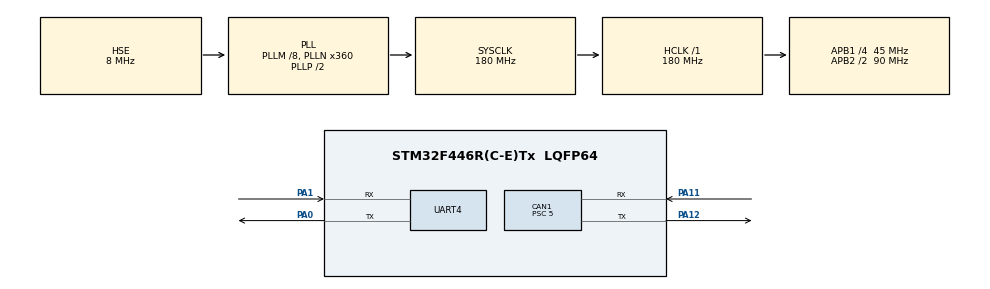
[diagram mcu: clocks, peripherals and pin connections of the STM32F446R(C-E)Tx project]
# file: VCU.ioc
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CAN1.BS1=CAN_BS1_15TQ
CAN1.BS2=CAN_BS2_2TQ
CAN1.CalculateBaudRate=500000
CAN1.CalculateTimeBit=2000
CAN1.CalculateTimeQuantum=111.11111111111111
CAN1.Prescaler=5
Mcu.Family=STM32F4
Mcu.Name=STM32F446R(C-E)Tx
Mcu.Package=LQFP64
NVIC.CAN1_RX0_IRQn=true\:0\:0\:false\:false\:true\:true\:true\:true
NVIC.CAN1_RX1_IRQn=true\:0\:0\:false\:false\:true\:true\:true\:true
NVIC.CAN1_SCE_IRQn=true\:0\:0\:false\:false\:true\:true\:true\:true
NVIC.CAN1_TX_IRQn=true\:0\:0\:false\:false\:true\:true\:true\:true
NVIC.PriorityGroup=NVIC_PRIORITYGROUP_4
NVIC.TIM2_IRQn=true\:0\:0\:false\:false\:true\:true\:true\:true
NVIC.UART4_IRQn=true\:0\:0\:false\:false\:true\:true\:true\:true
PA0-WKUP.Mode=Asynchronous
PA0-WKUP.Signal=UART4_TX
PA1.Mode=Asynchronous
PA1.Signal=UART4_RX
PA11.Mode=CAN_Activate
PA11.Signal=CAN1_RX
PA12.Mode=CAN_Activate
PA12.Signal=CAN1_TX
PH0-OSC_IN.Mode=HSE-External-Clock-Source
PH0-OSC_IN.Signal=RCC_OSC_IN
PH1-OSC_OUT.Mode=HSE-External-Clock-Source
PH1-OSC_OUT.Signal=RCC_OSC_OUT
ProjectManager.HeapSize=0x200
ProjectManager.StackSize=0x400
ProjectManager.TargetToolchain=STM32CubeIDE
RCC.AHBFreq_Value=180000000
RCC.APB1CLKDivider=RCC_HCLK_DIV4
RCC.APB1Freq_Value=45000000
RCC.APB1TimFreq_Value=90000000
RCC.APB2CLKDivider=RCC_HCLK_DIV2
RCC.APB2Freq_Value=90000000
RCC.APB2TimFreq_Value=180000000
RCC.CortexFreq_Value=180000000
RCC.HCLKFreq_Value=180000000
RCC.HSE_VALUE=8000000
RCC.PLLM=8
RCC.PLLN=360
RCC.PLLSourceVirtual=RCC_PLLSOURCE_HSE
RCC.SYSCLKFreq_VALUE=180000000
RCC.SYSCLKSource=RCC_SYSCLKSOURCE_PLLCLK
RCC.USBFreq_Value=180000000
RCC.VCOOutputFreq_Value=360000000
TIM2.Period=49999
TIM2.Prescaler=399
UART4.VirtualMode=Asynchronous
VP_TIM2_VS_ClockSourceINT.Mode=Internal
board=custom

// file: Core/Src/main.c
/* USER CODE BEGIN Header */
/**
 ******************************************************************************
 * @file           : main.c
 * @brief          : Main program body
 ******************************************************************************
 * @attention
 *
 * Copyright (c) 2025 STMicroelectronics.
 * All rights reserved.
 *
 * This software is licensed under terms that can be found in the LICENSE file
 * in the root directory of this software component.
 * If no LICENSE file comes with this software, it is provided AS-IS.
 *
 ******************************************************************************
 */
/* USER CODE END Header */
#include "main.h"

/* USER CODE BEGIN Includes */
#include <stdbool.h>
#include <string.h> //Includerea bibliotecii string.h
#include <stdint.h> // Includerea bibliotecii stdint
/* USER CODE END Includes */

/* USER CODE BEGIN PTD */

typedef struct {
	//HABARNAM INCA CUM SA L TRIMIT
	int PLM;
} LORA_READY_CAN;

/* USER CODE END PTD */

CAN_HandleTypeDef hcan1;

TIM_HandleTypeDef htim2;

UART_HandleTypeDef huart4;

/* USER CODE BEGIN PV */

volatile bool flag = 0; //Initializarea flagului flag ca variabila volatila pentru evidenta timer-ului
volatile bool flag_uart = 0;
CANMSG_T CAN_MESSAGE; //Initializarea variabilei CAN_MESSAGE de tipul CANMSG_T pentru prelucrarea mesajelor primite pe CANBUS
BMS_t BMS = {0};

static CANMSG_T RXQ[16]; //Declararea unui buffer circular cu 16 pozitii pentru receptarea mesajelor de pe CANBUS
static volatile uint16_t RX_HEAD = 0; //Initializarea head-ului pentru coada
static volatile uint16_t RX_TAIL = 0; //Initializarea tail-ului pentru coada

/* USER CODE END PV */

void SystemClock_Config(void);
static void MX_GPIO_Init(void);
static void MX_CAN1_Init(void);
static void MX_TIM2_Init(void);
static void MX_UART4_Init(void);
/* USER CODE BEGIN PFP */

void CAN_TX(void); //Prototipul functiei CAN_TX() de tipul void
void CAN_FILTER_CONFIG(void); //Prototipul functiei CAN_FILTER_CONFIG() de tipul void

/* USER CODE END PFP */

/* USER CODE BEGIN 0 */

// --- Functii Helper Ring Buffer ---
static inline uint16_t rb_next(uint16_t i) { //Functie care verifica urmatoarea pozitie din coada
	return (uint16_t) ((i + 1u) & (16 - 1u)); //daca ajunge la pozitia 16, revine la 0 cu ajutorul modulo si returneaza pozitia
}

static inline bool rb_empty(void) {	//Funcite care verifica daca coada circulara este goala si returneaza TRUE/FALSE
	return RX_HEAD == RX_TAIL;
}
static inline bool rb_full(void) { //Functie care verifica daca coada circulara este plina si returneaza TRUE/FALSE
	return rb_next(RX_HEAD) == RX_TAIL;
}
static inline void rb_add(const CANMSG_T *CAN_MESSAGE) { //Functie care adauga o variabila de tipul CANMSG_T in coada circulara
	if (rb_full()) {
		RX_TAIL = rb_next(RX_TAIL); //Daca coada este plina deplasam cu o pozitie tail, eliminand un element din coada
	}
	memcpy(&RXQ[RX_HEAD], CAN_MESSAGE, sizeof(CANMSG_T));

	RX_HEAD = rb_next(RX_HEAD); //Deplasarea cu o pozitie a head-ului
}
static inline bool rb_pop(CANMSG_T *CAN_MESSAGEread) { //Functie care elimina un element din coada
	if (rb_empty()) { //Daca este goala returneaza 0
		return 0;
	}
	memcpy(CAN_MESSAGEread, &RXQ[RX_TAIL], sizeof(CANMSG_T)); //Se copiaza un mesaj din coada in buffer pentru procesare
	RX_TAIL = rb_next(RX_TAIL); 		//Se deplaseaza head-ul
	return 1; //Returnare 1 daca functia a reusit eliminarea
}

// --- Functii CAN  ---

void CAN_FILTER_CONFIG(void) {
	CAN_FilterTypeDef canfilter = { 0 };

	canfilter.FilterActivation = ENABLE;
	canfilter.FilterBank = 0;
	canfilter.FilterFIFOAssignment = CAN_RX_FIFO0;
	canfilter.FilterIdHigh = 0x0000;
	canfilter.FilterIdLow = 0x0000;
	canfilter.FilterMaskIdHigh = 0x0000;
	canfilter.FilterMaskIdLow = 0x0000;
	canfilter.FilterMode = CAN_FILTERMODE_IDMASK;
	canfilter.FilterScale = CAN_FILTERSCALE_32BIT;

// Folosim hcan1
	if (HAL_CAN_ConfigFilter(&hcan1, &canfilter) != HAL_OK) {
		Error_Handler();
	}
}

void CAN_TX(void) {
	CAN_TxHeaderTypeDef txheader;
	uint32_t txmailbox;
	uint8_t test[7] = { 0x01, 0xF4,  // Voltage (500 -> 50.0V)
			0x00, 0x64,  // Current (100 -> 10.0A)
			0x50,  // SOC (80%)
			0x63,  // SOH (99%)
			0xFA,  // AmpHours (250 -> 25.0Ah)
			};
	txheader.DLC = 7;
	txheader.StdId = 0x100;
	txheader.IDE = CAN_ID_STD;
	txheader.RTR = CAN_RTR_DATA;

	if (HAL_CAN_AddTxMessage(&hcan1, &txheader, test, &txmailbox) != HAL_OK) {
		// Error_Handler(); // Comentat pentru a evita blocarea daca nu e conectat bus-ul
	}
}

/* USER CODE END 0 */

int main(void) {

	/* MCU Configuration--------------------------------------------------------*/

	/* Reset of all peripherals, Initializes the Flash interface and the Systick. */
	HAL_Init();

	/* Configure the system clock */
	SystemClock_Config();

	/* Initialize all configured peripherals */
	MX_GPIO_Init();
	MX_CAN1_Init();
	MX_TIM2_Init();
	MX_UART4_Init();
	/* USER CODE BEGIN 2 */

	CAN_FILTER_CONFIG(); // Configuram filtrele

// Activare notificari pe hcan1
	if (HAL_CAN_ActivateNotification(&hcan1,
	CAN_IT_TX_MAILBOX_EMPTY | CAN_IT_RX_FIFO0_MSG_PENDING | CAN_IT_BUSOFF)
			!= HAL_OK) {
		Error_Handler();
	}

// Start CAN pe hcan1
	if (HAL_CAN_Start(&hcan1) != HAL_OK) {
		Error_Handler();
	}

// Start Timer
	HAL_TIM_Base_Start_IT(&htim2);

	/* USER CODE END 2 */

	/* Infinite loop */
	/* USER CODE BEGIN WHILE */
	while (1) {
		if (flag_uart == 1) {
			flag_uart = 0; // Resetam steagul

			if (HAL_UART_GetState(&huart4) == HAL_UART_STATE_READY) {
				HAL_UART_Transmit_IT(&huart4, (uint8_t*) &BMS, sizeof(BMS_t)); // Trimite mesaj
			}
		}

		while (rb_pop(&CAN_MESSAGE)) { // Proceseaza coada
			switch (CAN_MESSAGE.id) {
			case 0x100: {
				BMS = BMS0x100(CAN_MESSAGE);
				break;
			}
			case 0x101: {
				BMS = BMS0x101(CAN_MESSAGE);
				break;
			}
			case 0x102: {
				BMS = BMS0x102(CAN_MESSAGE);
				break;
			}
				/*  case 0x010: {
				 BMS = BMS0x010(CAN_MESSAGE);
				 } */
			default:
				break;
			}
		}

		/* USER CODE END WHILE */

	}
}

void SystemClock_Config(void) {
	RCC_OscInitTypeDef RCC_OscInitStruct = { 0 };
	RCC_ClkInitTypeDef RCC_ClkInitStruct = { 0 };

	/** Configure the main internal regulator output voltage
	 */
	__HAL_RCC_PWR_CLK_ENABLE();
	__HAL_PWR_VOLTAGESCALING_CONFIG(PWR_REGULATOR_VOLTAGE_SCALE1);

	/** Initializes the RCC Oscillators according to the specified parameters
	 * in the RCC_OscInitTypeDef structure.
	 */
	RCC_OscInitStruct.OscillatorType = RCC_OSCILLATORTYPE_HSE;
	RCC_OscInitStruct.HSEState = RCC_HSE_BYPASS;
	RCC_OscInitStruct.PLL.PLLState = RCC_PLL_ON;
	RCC_OscInitStruct.PLL.PLLSource = RCC_PLLSOURCE_HSE;
	RCC_OscInitStruct.PLL.PLLM = 8;
	RCC_OscInitStruct.PLL.PLLN = 360;
	RCC_OscInitStruct.PLL.PLLP = RCC_PLLP_DIV2;
	RCC_OscInitStruct.PLL.PLLQ = 2;
	RCC_OscInitStruct.PLL.PLLR = 2;
	if (HAL_RCC_OscConfig(&RCC_OscInitStruct) != HAL_OK) {
		Error_Handler();
	}

	/** Activate the Over-Drive mode
	 */
	if (HAL_PWREx_EnableOverDrive() != HAL_OK) {
		Error_Handler();
	}

	/** Initializes the CPU, AHB and APB buses clocks
	 */
	RCC_ClkInitStruct.ClockType = RCC_CLOCKTYPE_HCLK | RCC_CLOCKTYPE_SYSCLK
			| RCC_CLOCKTYPE_PCLK1 | RCC_CLOCKTYPE_PCLK2;
	RCC_ClkInitStruct.SYSCLKSource = RCC_SYSCLKSOURCE_PLLCLK;
	RCC_ClkInitStruct.AHBCLKDivider = RCC_SYSCLK_DIV1;
	RCC_ClkInitStruct.APB1CLKDivider = RCC_HCLK_DIV4;
	RCC_ClkInitStruct.APB2CLKDivider = RCC_HCLK_DIV2;

	if (HAL_RCC_ClockConfig(&RCC_ClkInitStruct, FLASH_LATENCY_5) != HAL_OK) {
		Error_Handler();
	}
}

static void MX_CAN1_Init(void) {

	hcan1.Instance = CAN1;
	hcan1.Init.Prescaler = 5;
	hcan1.Init.Mode = CAN_MODE_NORMAL;
	hcan1.Init.SyncJumpWidth = CAN_SJW_1TQ;
	hcan1.Init.TimeSeg1 = CAN_BS1_15TQ;
	hcan1.Init.TimeSeg2 = CAN_BS2_2TQ;
	hcan1.Init.TimeTriggeredMode = DISABLE;
	hcan1.Init.AutoBusOff = DISABLE;
	hcan1.Init.AutoWakeUp = DISABLE;
	hcan1.Init.AutoRetransmission = DISABLE;
	hcan1.Init.ReceiveFifoLocked = DISABLE;
	hcan1.Init.TransmitFifoPriority = DISABLE;
	if (HAL_CAN_Init(&hcan1) != HAL_OK) {
		Error_Handler();
	}

}

static void MX_TIM2_Init(void) {

	TIM_ClockConfigTypeDef sClockSourceConfig = { 0 };
	TIM_MasterConfigTypeDef sMasterConfig = { 0 };

	htim2.Instance = TIM2;
	htim2.Init.Prescaler = 399;
	htim2.Init.CounterMode = TIM_COUNTERMODE_UP;
	htim2.Init.Period = 49999;
	htim2.Init.ClockDivision = TIM_CLOCKDIVISION_DIV1;
	htim2.Init.AutoReloadPreload = TIM_AUTORELOAD_PRELOAD_DISABLE;
	if (HAL_TIM_Base_Init(&htim2) != HAL_OK) {
		Error_Handler();
	}
	sClockSourceConfig.ClockSource = TIM_CLOCKSOURCE_INTERNAL;
	if (HAL_TIM_ConfigClockSource(&htim2, &sClockSourceConfig) != HAL_OK) {
		Error_Handler();
	}
	sMasterConfig.MasterOutputTrigger = TIM_TRGO_RESET;
	sMasterConfig.MasterSlaveMode = TIM_MASTERSLAVEMODE_DISABLE;
	if (HAL_TIMEx_MasterConfigSynchronization(&htim2, &sMasterConfig)
			!= HAL_OK) {
		Error_Handler();
	}

}

static void MX_UART4_Init(void) {

	huart4.Instance = UART4;
	huart4.Init.BaudRate = 115200;
	huart4.Init.WordLength = UART_WORDLENGTH_8B;
	huart4.Init.StopBits = UART_STOPBITS_1;
	huart4.Init.Parity = UART_PARITY_NONE;
	huart4.Init.Mode = UART_MODE_TX_RX;
	huart4.Init.HwFlowCtl = UART_HWCONTROL_NONE;
	huart4.Init.OverSampling = UART_OVERSAMPLING_16;
	if (HAL_UART_Init(&huart4) != HAL_OK) {
		Error_Handler();
	}

}

static void MX_GPIO_Init(void) {

	/* GPIO Ports Clock Enable */
	__HAL_RCC_GPIOH_CLK_ENABLE();
	__HAL_RCC_GPIOA_CLK_ENABLE();

}

/* USER CODE BEGIN 4 */

void HAL_TIM_PeriodElapsedCallback(TIM_HandleTypeDef *htim) { //Callback pentru timer2
	if (htim->Instance == TIM2)
		flag_uart = 1; //Modificarea flagului in true
}

void HAL_CAN_RxFifo0MsgPendingCallback(CAN_HandleTypeDef *hcan) {
// Verificam daca e CAN1 (hcan1)
	if (hcan->Instance == CAN1) {
		CAN_RxHeaderTypeDef rxheader = { 0 };
		uint8_t recieved_msg[8];
		CANMSG_T recievedCAN = { 0 };

		if (HAL_CAN_GetRxMessage(hcan, CAN_RX_FIFO0, &rxheader, recieved_msg)
				!= HAL_OK) {
			Error_Handler();
		}
		uint8_t len = (rxheader.DLC > 8) ? 8 : rxheader.DLC;
		recievedCAN.id = rxheader.StdId;
		recievedCAN.dlc = len;
		memcpy(recievedCAN.data, recieved_msg, len);
		recievedCAN.flags = rxheader.RTR;

		rb_add(&recievedCAN);
	}
}

void HAL_CAN_RxFifo1MsgPendingCallback(CAN_HandleTypeDef *hcan) {
// Verificam daca e CAN1 (hcan1)
	if (hcan->Instance == CAN1) {
		CAN_RxHeaderTypeDef rxheader = { 0 };
		uint8_t recieved_msg[8];
		CANMSG_T recievedCAN = { 0 };

		if (HAL_CAN_GetRxMessage(hcan, CAN_RX_FIFO1, &rxheader, recieved_msg)
				!= HAL_OK) {
			Error_Handler();
		}
		uint8_t len = (rxheader.DLC > 8) ? 8 : rxheader.DLC;
		recievedCAN.id = rxheader.StdId;
		recievedCAN.dlc = len;
		memcpy(recievedCAN.data, recieved_msg, len);
		recievedCAN.flags = rxheader.RTR;

		rb_add(&recievedCAN);
	}
}

void HAL_CAN_TxMailbox0CompleteCallback(CAN_HandleTypeDef *hcan) {
	/*	const char msg[] = "Message sent from mailbox 0\n\r";
	 // Folosim huart1
	 if (HAL_UART_Transmit(&huart4, (uint8_t*) msg, sizeof(msg) - 1,
	 HAL_MAX_DELAY) != HAL_OK) {
	 // Error_Handler();
	 } */
}

/* USER CODE END 4 */

void Error_Handler(void) {
	__disable_irq();
	while (1) {
	}
}
